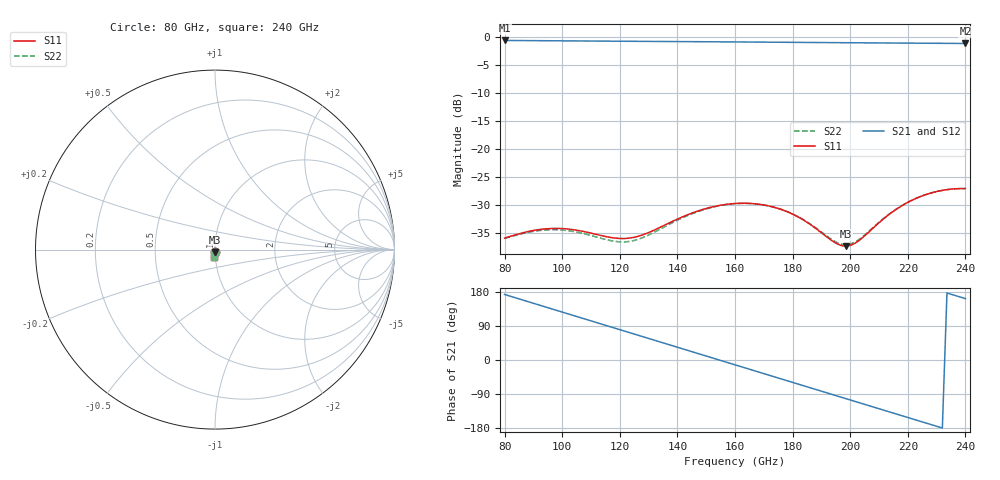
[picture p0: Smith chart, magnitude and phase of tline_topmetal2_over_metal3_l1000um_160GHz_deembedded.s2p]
! Created with skrf 2.2.0 (http://scikit-rf.org).
# GHz S DB R 50.0
! Port[1] = P1
! Port[2] = P2
!freq dBS11 angS11 dBS21 angS21 dBS12 angS12 dBS22 angS22
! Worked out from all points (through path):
!   101 points, 80 GHz to 240 GHz, reference 50 ohm
!   highest |S21| = -0.61 dB at 80 GHz (marker M1); lowest = -1.1 dB at 240 GHz (marker M2)
!   group delay of S21, straight-line fit = 6.44 ps
!   lowest |S11| = -37.3 dB at 198.4 GHz (marker M3), VSWR 1.03, Z = 49.9 - j1.35 ohm
!   |S11| at or under -10 dB: start of sweep to end of sweep
!   |S22| runs from -37.1 to -27.1 dB; largest |S21 - S12| = 1e-13
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80  -35.90 -82.9  -0.61 172.9  -0.61 172.9  -35.95 -85.0
86.4  -34.94 -83.3  -0.63 158.1  -0.63 158.1  -35.06 -85.3
92.8  -34.31 -87.1  -0.65 143.2  -0.65 143.2  -34.50 -89.1
100.8  -34.22 -93.1  -0.68 124.6  -0.68 124.6  -34.50 -94.9
107.2  -34.69 -96.3  -0.70 109.8  -0.70 109.8  -35.06 -98.0
113.6  -35.44 -95.6  -0.73 94.9  -0.73 94.9  -35.94 -96.8
120  -35.96 -89.6  -0.75 80.1  -0.75 80.1  -36.56 -89.5
126.4  -35.57 -80.8  -0.77 65.2  -0.77 65.2  -36.10 -79.2
134.4  -33.87 -74.4  -0.79 46.7  -0.79 46.7  -34.19 -72.0
147.2  -31.04 -80.0  -0.83 17.0  -0.83 17.0  -31.15 -77.9
153.6  -30.16 -87.0  -0.85 2.1  -0.85 2.1  -30.22 -85.1
160  -29.72 -95.2  -0.88 -12.7  -0.88 -12.7  -29.75 -93.5
166.4  -29.74 -103.8  -0.90 -27.6  -0.90 -27.6  -29.75 -102.2
174.4  -30.51 -114.0  -0.93 -46.1  -0.93 -46.1  -30.49 -112.5
187.2  -33.84 -121.7  -0.97 -75.8  -0.97 -75.8  -33.75 -120.2
198.4  -37.33 -95.0  -1.01 -101.7  -1.01 -101.7  -37.09 -94.6
206.4  -34.84 -68.9  -1.04 -120.3  -1.04 -120.3  -34.71 -69.4
214.4  -31.32 -65.7  -1.07 -138.8  -1.07 -138.8  -31.28 -66.3
220.8  -29.30 -71.2  -1.09 -153.6  -1.09 -153.6  -29.28 -71.7
227.2  -27.97 -79.6  -1.11 -168.4  -1.11 -168.4  -27.97 -80.1
233.6  -27.24 -89.2  -1.13 176.8  -1.13 176.8  -27.25 -89.8
240  -27.05 -99.1  -1.15 162.0  -1.15 162.0  -27.08 -99.9
